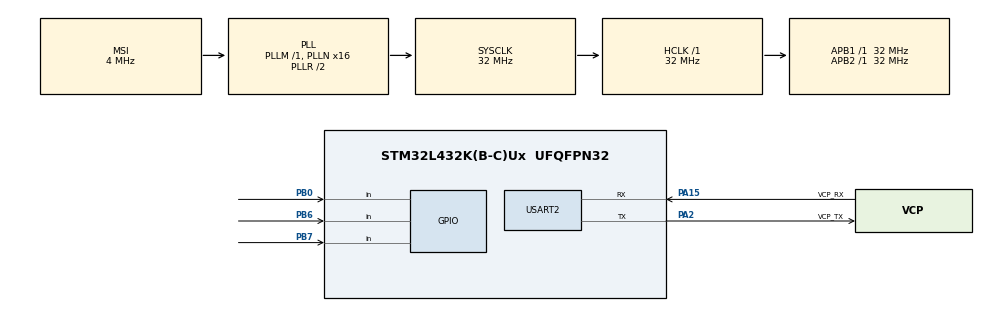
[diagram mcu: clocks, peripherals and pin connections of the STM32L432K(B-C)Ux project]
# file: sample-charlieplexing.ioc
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Dma.Request0=TIM1_UP
Dma.Request1=TIM1_CH1
Dma.TIM1_CH1.1.Direction=DMA_MEMORY_TO_PERIPH
Dma.TIM1_CH1.1.Instance=DMA1_Channel2
Dma.TIM1_CH1.1.MemDataAlignment=DMA_MDATAALIGN_WORD
Dma.TIM1_CH1.1.MemInc=DMA_MINC_ENABLE
Dma.TIM1_CH1.1.Mode=DMA_CIRCULAR
Dma.TIM1_CH1.1.PeriphDataAlignment=DMA_PDATAALIGN_WORD
Dma.TIM1_CH1.1.PeriphInc=DMA_PINC_DISABLE
Dma.TIM1_CH1.1.Priority=DMA_PRIORITY_LOW
Dma.TIM1_UP.0.Direction=DMA_MEMORY_TO_PERIPH
Dma.TIM1_UP.0.Instance=DMA1_Channel6
Dma.TIM1_UP.0.MemDataAlignment=DMA_MDATAALIGN_WORD
Dma.TIM1_UP.0.MemInc=DMA_MINC_ENABLE
Dma.TIM1_UP.0.Mode=DMA_CIRCULAR
Dma.TIM1_UP.0.PeriphDataAlignment=DMA_PDATAALIGN_WORD
Dma.TIM1_UP.0.PeriphInc=DMA_PINC_DISABLE
Dma.TIM1_UP.0.Priority=DMA_PRIORITY_LOW
Mcu.Family=STM32L4
Mcu.Name=STM32L432K(B-C)Ux
Mcu.Package=UFQFPN32
NVIC.DMA1_Channel2_IRQn=true\:0\:0\:false\:false\:true\:false\:true\:true
NVIC.DMA1_Channel6_IRQn=true\:0\:0\:false\:false\:true\:false\:true\:true
NVIC.PriorityGroup=NVIC_PRIORITYGROUP_4
PA0.GPIO_Label=MCO [High speed clock in]
PA0.Mode=HSE-External-Clock-Source-for-LittleOrca
PA0.Signal=RCC_CK_IN
PA13\ (JTMS-SWDIO).GPIO_Label=SWDIO
PA13\ (JTMS-SWDIO).Mode=Serial_Wire
PA13\ (JTMS-SWDIO).Signal=SYS_JTMS-SWDIO
PA14\ (JTCK-SWCLK).GPIO_Label=SWCLK
PA14\ (JTCK-SWCLK).Mode=Serial_Wire
PA14\ (JTCK-SWCLK).Signal=SYS_JTCK-SWCLK
PA15\ (JTDI).GPIO_Label=VCP_RX
PA15\ (JTDI).Mode=Asynchronous
PA15\ (JTDI).Signal=USART2_RX
PA2.GPIO_Label=VCP_TX
PA2.Mode=Asynchronous
PA2.Signal=USART2_TX
PB0.Signal=GPIO_Input
PB6.Signal=GPIO_Input
PB7.Signal=GPIO_Input
PC14-OSC32_IN\ (PC14).Mode=LSE-External-Oscillator
PC14-OSC32_IN\ (PC14).Signal=RCC_OSC32_IN
PC15-OSC32_OUT\ (PC15).Mode=LSE-External-Oscillator
PC15-OSC32_OUT\ (PC15).Signal=RCC_OSC32_OUT
ProjectManager.HeapSize=0x200
ProjectManager.StackSize=0x400
ProjectManager.TargetToolchain=STM32CubeIDE
RCC.AHBFreq_Value=32000000
RCC.APB1Freq_Value=32000000
RCC.APB1TimFreq_Value=32000000
RCC.APB2Freq_Value=32000000
RCC.APB2TimFreq_Value=32000000
RCC.CortexFreq_Value=32000000
RCC.HCLKFreq_Value=32000000
RCC.HSE_VALUE=8000000
RCC.HSI16_VALUE=16000000
RCC.HSI48_VALUE=48000000
RCC.HSI_VALUE=16000000
RCC.MSI_VALUE=4000000
RCC.PLLMUL=RCC_PLLMUL_4
RCC.PLLN=16
RCC.SYSCLKFreq_VALUE=32000000
RCC.SYSCLKSource=RCC_SYSCLKSOURCE_PLLCLK
RCC.VCOOutputFreq_Value=64000000
TIM1.Channel-Output\ Compare1\ No\ Output=TIM_CHANNEL_1
TIM1.Period=1110
TIM1.Prescaler=0
TIM1.Pulse-Output\ Compare1\ No\ Output=1060
USART2.VirtualMode-Asynchronous=VM_ASYNC
VP_TIM1_VS_ClockSourceINT.Mode=Internal
VP_TIM1_VS_no_output1.Mode=Output Compare1 No Output
board=NUCLEO-L432KC

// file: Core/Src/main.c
/* USER CODE BEGIN Header */
/**
  ******************************************************************************
  * @file           : main.c
  * @brief          : Main program body
  ******************************************************************************
  * @attention
  *
  * Copyright (c) 2026 STMicroelectronics.
  * All rights reserved.
  *
  * This software is licensed under terms that can be found in the LICENSE file
  * in the root directory of this software component.
  * If no LICENSE file comes with this software, it is provided AS-IS.
  *
  ******************************************************************************
  */
/* USER CODE END Header */
#include "main.h"

/* USER CODE BEGIN Includes */
#include <stdio.h>
/* USER CODE END Includes */

TIM_HandleTypeDef htim1;
DMA_HandleTypeDef hdma_tim1_up;
DMA_HandleTypeDef hdma_tim1_ch1;

UART_HandleTypeDef huart2;

/* USER CODE BEGIN PV */
uint32_t loopCounter = 0;
int current_off = 0;

static uint32_t bsrr_buf[240] = {
    0x00400001,  // LED1: PB0=H, PB6=L, PB7=HiZ
    0x00010040,  // LED2: PB6=H, PB0=L, PB7=HiZ
    0x00800001,  // LED3: PB0=H, PB7=L, PB6=HiZ
    0x00010080,  // LED4: PB7=H, PB0=L, PB6=HiZ
    0x00800040,  // LED5: PB6=H, PB7=L, PB0=HiZ
    0x00400080,  // LED6: PB7=H, PB6=L, PB0=HiZ
    // [6..239] = 0 — no effect, pins stay HiZ for remaining 234 slots
};

static uint32_t moder_buf[240] = {
    0x00001001,  // LED1: PB0+PB6 output, PB7 input
    0x00001001,  // LED2: PB0+PB6 output, PB7 input
    0x00004001,  // LED3: PB0+PB7 output, PB6 input
    0x00004001,  // LED4: PB0+PB7 output, PB6 input
    0x00005000,  // LED5: PB6+PB7 output, PB0 input
    0x00005000,  // LED6: PB6+PB7 output, PB0 input
    // [6..239] = 0 — all pins input (HiZ), nothing lit
};

/* USER CODE END PV */

void SystemClock_Config(void);
static void MX_GPIO_Init(void);
static void MX_DMA_Init(void);
static void MX_USART2_UART_Init(void);
static void MX_TIM1_Init(void);

int main(void)
{

  /* MCU Configuration--------------------------------------------------------*/

  /* Reset of all peripherals, Initializes the Flash interface and the Systick. */
  HAL_Init();

  /* Configure the system clock */
  SystemClock_Config();

  /* Initialize all configured peripherals */
  MX_GPIO_Init();
  MX_DMA_Init();
  MX_USART2_UART_Init();
  MX_TIM1_Init();
  /* USER CODE BEGIN 2 */

//  static uint32_t gpioDmaBuffer[] = {
//      LD3_Pin,
//      LD3_Pin << 16
//  };
//
//  // THIS IS THE MISSING LINE — TIM1 is an advanced timer
//  // MOE bit must be set or TIM1 DMA requests are blocked
//  __HAL_TIM_MOE_ENABLE(&htim1);
//
//  HAL_TIM_Base_Start(&htim1);
//  HAL_DMA_Start(&hdma_tim1_up,
//      (uint32_t)gpioDmaBuffer,
//      (uint32_t)&GPIOB->BSRR,
//      2);
//  __HAL_TIM_ENABLE_DMA(&htim1, TIM_DMA_UPDATE);

//  // 240 entry buffer — 1 ON, 239 OFF
//  static uint32_t gpioDmaBuffer[240];
//
//  // fill all with OFF
//  for(int i = 0; i < 240; i++)
//      gpioDmaBuffer[i] = GPIO_PIN_12 << 16;
//
//  // only slot 0 ON — simulates 1 LED out of 240
//  gpioDmaBuffer[0] = GPIO_PIN_12;
//
//  __HAL_TIM_MOE_ENABLE(&htim1);
//  HAL_TIM_Base_Start(&htim1);
//  HAL_DMA_Start(&hdma_tim1_up,
//      (uint32_t)gpioDmaBuffer,
//      (uint32_t)&GPIOA->BSRR,
//      240);
//  __HAL_TIM_ENABLE_DMA(&htim1, TIM_DMA_UPDATE);

  __HAL_TIM_MOE_ENABLE(&htim1);

  HAL_DMA_Start(&hdma_tim1_ch1,
      (uint32_t)bsrr_buf,
      (uint32_t)&GPIOB->BSRR,
      240);

  HAL_DMA_Start(&hdma_tim1_up,
      (uint32_t)moder_buf,
      (uint32_t)&GPIOB->MODER,
      240);

  HAL_TIM_OC_Start(&htim1, TIM_CHANNEL_1);
  __HAL_TIM_ENABLE_DMA(&htim1, TIM_DMA_CC1);
  __HAL_TIM_ENABLE_DMA(&htim1, TIM_DMA_UPDATE);
  HAL_TIM_Base_Start(&htim1);

  /* USER CODE END 2 */

  /* Infinite loop */
  while (1)
  {

    /* USER CODE BEGIN 3 */

	    loopCounter++;

	    uint32_t restore = moder_buf[current_off];
	    moder_buf[current_off] = 0;
	    HAL_Delay(500);
	    moder_buf[current_off] = restore;
	    current_off = (current_off + 1) % 6;

  }
  /* USER CODE END 3 */
}

void SystemClock_Config(void)
{
  RCC_OscInitTypeDef RCC_OscInitStruct = {0};
  RCC_ClkInitTypeDef RCC_ClkInitStruct = {0};

  /** Configure the main internal regulator output voltage
  */
  if (HAL_PWREx_ControlVoltageScaling(PWR_REGULATOR_VOLTAGE_SCALE1) != HAL_OK)
  {
    Error_Handler();
  }

  /** Configure LSE Drive Capability
  */
  HAL_PWR_EnableBkUpAccess();
  __HAL_RCC_LSEDRIVE_CONFIG(RCC_LSEDRIVE_LOW);

  /** Initializes the RCC Oscillators according to the specified parameters
  * in the RCC_OscInitTypeDef structure.
  */
  RCC_OscInitStruct.OscillatorType = RCC_OSCILLATORTYPE_LSE|RCC_OSCILLATORTYPE_MSI;
  RCC_OscInitStruct.LSEState = RCC_LSE_ON;
  RCC_OscInitStruct.MSIState = RCC_MSI_ON;
  RCC_OscInitStruct.MSICalibrationValue = 0;
  RCC_OscInitStruct.MSIClockRange = RCC_MSIRANGE_6;
  RCC_OscInitStruct.PLL.PLLState = RCC_PLL_ON;
  RCC_OscInitStruct.PLL.PLLSource = RCC_PLLSOURCE_MSI;
  RCC_OscInitStruct.PLL.PLLM = 1;
  RCC_OscInitStruct.PLL.PLLN = 16;
  RCC_OscInitStruct.PLL.PLLP = RCC_PLLP_DIV7;
  RCC_OscInitStruct.PLL.PLLQ = RCC_PLLQ_DIV2;
  RCC_OscInitStruct.PLL.PLLR = RCC_PLLR_DIV2;
  if (HAL_RCC_OscConfig(&RCC_OscInitStruct) != HAL_OK)
  {
    Error_Handler();
  }

  /** Initializes the CPU, AHB and APB buses clocks
  */
  RCC_ClkInitStruct.ClockType = RCC_CLOCKTYPE_HCLK|RCC_CLOCKTYPE_SYSCLK
                              |RCC_CLOCKTYPE_PCLK1|RCC_CLOCKTYPE_PCLK2;
  RCC_ClkInitStruct.SYSCLKSource = RCC_SYSCLKSOURCE_PLLCLK;
  RCC_ClkInitStruct.AHBCLKDivider = RCC_SYSCLK_DIV1;
  RCC_ClkInitStruct.APB1CLKDivider = RCC_HCLK_DIV1;
  RCC_ClkInitStruct.APB2CLKDivider = RCC_HCLK_DIV1;

  if (HAL_RCC_ClockConfig(&RCC_ClkInitStruct, FLASH_LATENCY_1) != HAL_OK)
  {
    Error_Handler();
  }

  /** Enable MSI Auto calibration
  */
  HAL_RCCEx_EnableMSIPLLMode();
}

static void MX_TIM1_Init(void)
{

  TIM_ClockConfigTypeDef sClockSourceConfig = {0};
  TIM_MasterConfigTypeDef sMasterConfig = {0};
  TIM_OC_InitTypeDef sConfigOC = {0};
  TIM_BreakDeadTimeConfigTypeDef sBreakDeadTimeConfig = {0};

  htim1.Instance = TIM1;
  htim1.Init.Prescaler = 0;
  htim1.Init.CounterMode = TIM_COUNTERMODE_UP;
  htim1.Init.Period = 1110;
  htim1.Init.ClockDivision = TIM_CLOCKDIVISION_DIV1;
  htim1.Init.RepetitionCounter = 0;
  htim1.Init.AutoReloadPreload = TIM_AUTORELOAD_PRELOAD_DISABLE;
  if (HAL_TIM_Base_Init(&htim1) != HAL_OK)
  {
    Error_Handler();
  }
  sClockSourceConfig.ClockSource = TIM_CLOCKSOURCE_INTERNAL;
  if (HAL_TIM_ConfigClockSource(&htim1, &sClockSourceConfig) != HAL_OK)
  {
    Error_Handler();
  }
  if (HAL_TIM_OC_Init(&htim1) != HAL_OK)
  {
    Error_Handler();
  }
  sMasterConfig.MasterOutputTrigger = TIM_TRGO_RESET;
  sMasterConfig.MasterOutputTrigger2 = TIM_TRGO2_RESET;
  sMasterConfig.MasterSlaveMode = TIM_MASTERSLAVEMODE_DISABLE;
  if (HAL_TIMEx_MasterConfigSynchronization(&htim1, &sMasterConfig) != HAL_OK)
  {
    Error_Handler();
  }
  sConfigOC.OCMode = TIM_OCMODE_TIMING;
  sConfigOC.Pulse = 1060;
  sConfigOC.OCPolarity = TIM_OCPOLARITY_HIGH;
  sConfigOC.OCNPolarity = TIM_OCNPOLARITY_HIGH;
  sConfigOC.OCFastMode = TIM_OCFAST_DISABLE;
  sConfigOC.OCIdleState = TIM_OCIDLESTATE_RESET;
  sConfigOC.OCNIdleState = TIM_OCNIDLESTATE_RESET;
  if (HAL_TIM_OC_ConfigChannel(&htim1, &sConfigOC, TIM_CHANNEL_1) != HAL_OK)
  {
    Error_Handler();
  }
  sBreakDeadTimeConfig.OffStateRunMode = TIM_OSSR_DISABLE;
  sBreakDeadTimeConfig.OffStateIDLEMode = TIM_OSSI_DISABLE;
  sBreakDeadTimeConfig.LockLevel = TIM_LOCKLEVEL_OFF;
  sBreakDeadTimeConfig.DeadTime = 0;
  sBreakDeadTimeConfig.BreakState = TIM_BREAK_DISABLE;
  sBreakDeadTimeConfig.BreakPolarity = TIM_BREAKPOLARITY_HIGH;
  sBreakDeadTimeConfig.BreakFilter = 0;
  sBreakDeadTimeConfig.Break2State = TIM_BREAK2_DISABLE;
  sBreakDeadTimeConfig.Break2Polarity = TIM_BREAK2POLARITY_HIGH;
  sBreakDeadTimeConfig.Break2Filter = 0;
  sBreakDeadTimeConfig.AutomaticOutput = TIM_AUTOMATICOUTPUT_DISABLE;
  if (HAL_TIMEx_ConfigBreakDeadTime(&htim1, &sBreakDeadTimeConfig) != HAL_OK)
  {
    Error_Handler();
  }

}

static void MX_USART2_UART_Init(void)
{

  huart2.Instance = USART2;
  huart2.Init.BaudRate = 115200;
  huart2.Init.WordLength = UART_WORDLENGTH_8B;
  huart2.Init.StopBits = UART_STOPBITS_1;
  huart2.Init.Parity = UART_PARITY_NONE;
  huart2.Init.Mode = UART_MODE_TX_RX;
  huart2.Init.HwFlowCtl = UART_HWCONTROL_NONE;
  huart2.Init.OverSampling = UART_OVERSAMPLING_16;
  huart2.Init.OneBitSampling = UART_ONE_BIT_SAMPLE_DISABLE;
  huart2.AdvancedInit.AdvFeatureInit = UART_ADVFEATURE_NO_INIT;
  if (HAL_UART_Init(&huart2) != HAL_OK)
  {
    Error_Handler();
  }

}

static void MX_DMA_Init(void)
{

  /* DMA controller clock enable */
  __HAL_RCC_DMA1_CLK_ENABLE();

  /* DMA interrupt init */
  /* DMA1_Channel2_IRQn interrupt configuration */
  HAL_NVIC_SetPriority(DMA1_Channel2_IRQn, 0, 0);
  HAL_NVIC_EnableIRQ(DMA1_Channel2_IRQn);
  /* DMA1_Channel6_IRQn interrupt configuration */
  HAL_NVIC_SetPriority(DMA1_Channel6_IRQn, 0, 0);
  HAL_NVIC_EnableIRQ(DMA1_Channel6_IRQn);

}

static void MX_GPIO_Init(void)
{
  GPIO_InitTypeDef GPIO_InitStruct = {0};

  /* GPIO Ports Clock Enable */
  __HAL_RCC_GPIOC_CLK_ENABLE();
  __HAL_RCC_GPIOA_CLK_ENABLE();
  __HAL_RCC_GPIOB_CLK_ENABLE();

  /*Configure GPIO pins : PB0 PB6 PB7 */
  GPIO_InitStruct.Pin = GPIO_PIN_0|GPIO_PIN_6|GPIO_PIN_7;
  GPIO_InitStruct.Mode = GPIO_MODE_INPUT;
  GPIO_InitStruct.Pull = GPIO_NOPULL;
  HAL_GPIO_Init(GPIOB, &GPIO_InitStruct);

}

void Error_Handler(void)
{
  __disable_irq();
  while (1)
  {
  }
}
